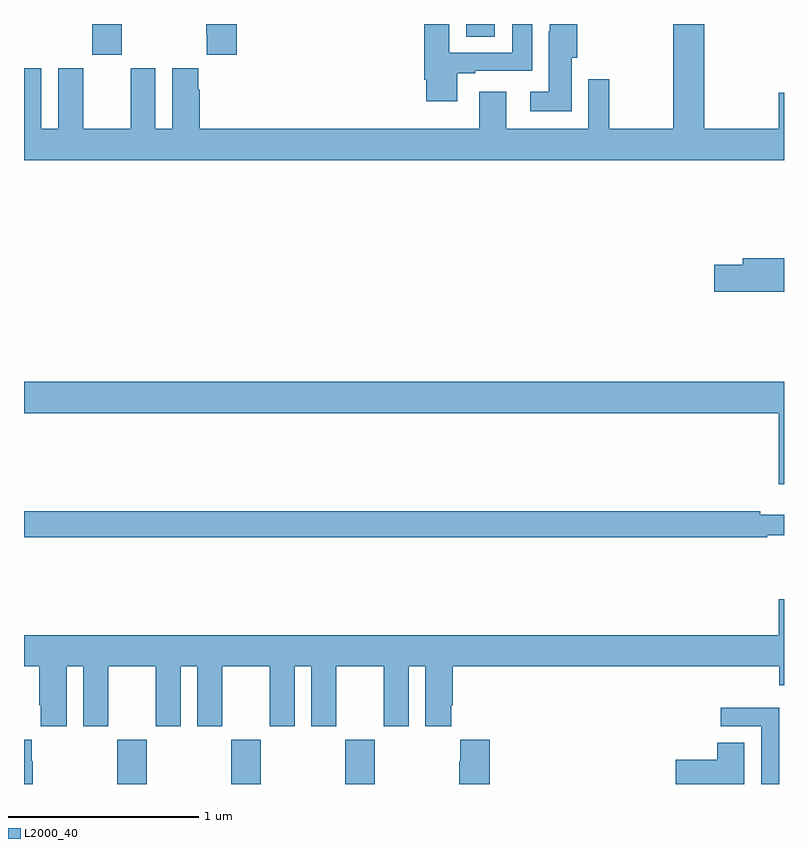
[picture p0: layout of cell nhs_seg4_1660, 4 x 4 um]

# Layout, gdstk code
import gdstk
lib = gdstk.Library(unit=1e-6, precision=1e-09)
def R(c, l, rs):  # rectangles x0, y0, x1, y1
    for r in rs: c.add(gdstk.rectangle(r[:2], r[2:], *l))
def A(c, l, x, y, w, h, nx, ny, dx, dy):  # array of equal rectangles
    R(c, l, [(x+i*dx, y+j*dy, x+i*dx+w, y+j*dy+h) for i in range(nx) for j in range(ny)])
def P(c, l, *ps):  # polygons
    for p in ps: c.add(gdstk.Polygon(p, *l))
L2000_40 = (2000, 40)

nhs_seg4_1660 = lib.new_cell('nhs_seg4_1660')
A(nhs_seg4_1660, L2000_40, 197.491, 762.9, 0.155, 0.232, 3, 1, 0.6, 0)
R(nhs_seg4_1660, L2000_40, [(197.359,766.737,197.514,766.9), (199.328,766.834,199.477,766.9)])
P(nhs_seg4_1660, L2000_40, [(199.279,766.641),(199.375,766.641),(199.375,766.653),(199.675,766.653),(199.675,766.9),(199.571,766.9),(199.571,766.749),(199.237,766.749),(199.237,766.9),(199.106,766.9),(199.106,766.606),(199.118,766.606),(199.118,766.494),(199.279,766.494)],
  [(199.882,766.722),(199.913,766.722),(199.913,766.9),(199.767,766.9),(199.767,766.862),(199.763,766.862),(199.763,766.543),(199.665,766.543),(199.665,766.442),(199.882,766.442)],
  [(198.119,766.9),(197.959,766.9),(197.959,766.849),(197.963,766.849),(197.963,766.737),(198.119,766.737)],
  [(201,766.537),(200.972,766.537),(200.972,766.348),(200.581,766.348),(200.581,766.9),(200.417,766.9),(200.417,766.348),(200.08,766.348),(200.08,766.609),(199.971,766.609),(199.971,766.348),(199.537,766.348),(199.537,766.543),(199.397,766.543),(199.397,766.348),(197.924,766.348),(197.924,766.553),(197.917,766.553),(197.917,766.666),(197.78,766.666),(197.78,766.348),(197.692,766.348),(197.692,766.666),(197.561,766.666),(197.561,766.348),(197.311,766.348),(197.311,766.666),(197.18,766.666),(197.18,766.348),(197.092,766.348),(197.092,766.666),(197,766.666),(197,766.184),(201,766.184)],
  [(201,765.668),(200.783,765.668),(200.783,765.632),(200.634,765.632),(200.634,765.49),(201,765.49)],
  [(201,765.016),(197,765.016),(197,764.852),(200.972,764.852),(200.972,764.478),(201,764.478)],
  [(200.912,764.208),(201,764.208),(201,764.317),(200.876,764.317),(200.876,764.336),(197,764.336),(197,764.2),(200.912,764.2)],
  [(197.224,763.52),(197.312,763.52),(197.312,763.203),(197.443,763.203),(197.443,763.52),(197.693,763.52),(197.693,763.203),(197.824,763.203),(197.824,763.52),(197.912,763.52),(197.912,763.203),(198.043,763.203),(198.043,763.52),(198.293,763.52),(198.293,763.203),(198.424,763.203),(198.424,763.52),(198.512,763.52),(198.512,763.203),(198.643,763.203),(198.643,763.52),(198.893,763.52),(198.893,763.203),(199.024,763.203),(199.024,763.52),(199.112,763.52),(199.112,763.203),(199.249,763.203),(199.249,763.315),(199.256,763.315),(199.256,763.52),(200.975,763.52),(200.975,763.421),(201,763.421),(201,763.873),(200.972,763.873),(200.972,763.684),(197,763.684),(197,763.52),(197.081,763.52),(197.081,763.315),(197.087,763.315),(197.087,763.203),(197.224,763.203)],
  [(200.976,763.302),(200.667,763.302),(200.667,763.203),(200.88,763.203),(200.88,762.9),(200.976,762.9)],
  [(199.451,763.132),(199.295,763.132),(199.295,763.019),(199.291,763.019),(199.291,762.9),(199.451,762.9)],
  [(197.046,763.019),(197.041,763.019),(197.041,763.132),(197,763.132),(197,762.9),(197.046,762.9)],
  [(200.791,763.118),(200.648,763.118),(200.648,763.028),(200.43,763.028),(200.43,762.9),(200.791,762.9)])

lib.write_gds('nhs_seg4_1660.gds')
